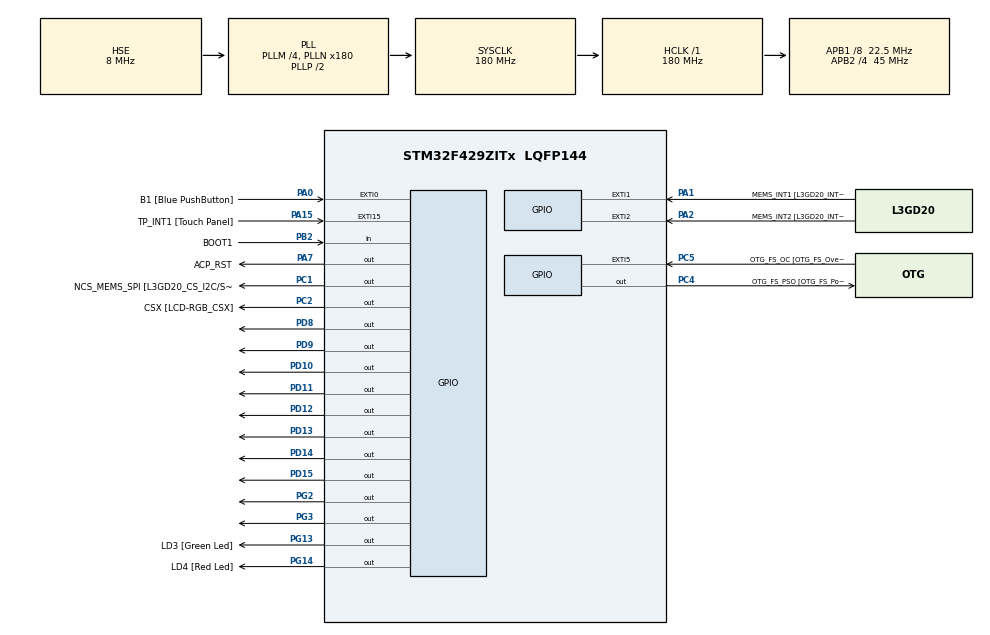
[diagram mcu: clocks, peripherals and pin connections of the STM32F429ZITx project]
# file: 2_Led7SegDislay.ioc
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Mcu.Family=STM32F4
Mcu.Name=STM32F429ZITx
Mcu.Package=LQFP144
NVIC.EXTI0_IRQn=true\:0\:0\:false\:false\:true\:true\:true\:true
NVIC.PriorityGroup=NVIC_PRIORITYGROUP_0
NVIC.TIM6_DAC_IRQn=true\:0\:0\:false\:false\:true\:true\:true\:true
PA0/WKUP.GPIO_Label=B1 [Blue PushButton]
PA0/WKUP.GPIO_ModeDefaultEXTI=GPIO_MODE_IT_RISING
PA0/WKUP.GPIO_PuPd=GPIO_NOPULL
PA0/WKUP.Signal=GPXTI0
PA1.GPIO_Label=MEMS_INT1 [L3GD20_INT1]
PA1.GPIO_ModeDefaultEXTI=GPIO_MODE_EVT_RISING
PA1.GPIO_PuPd=GPIO_NOPULL
PA1.Signal=GPXTI1
PA10.GPIO_Label=STLINK_TX [STM32F103CBT6_PA2]
PA10.Signal=USART1_RX
PA11.GPIO_Label=R4
PA11.GPIO_Mode=GPIO_MODE_AF_PP
PA11.GPIO_PuPd=GPIO_NOPULL
PA11.GPIO_Speed=GPIO_SPEED_FREQ_LOW
PA11.Signal=LTDC_R4
PA12.GPIO_Label=R5
PA12.GPIO_Mode=GPIO_MODE_AF_PP
PA12.GPIO_PuPd=GPIO_NOPULL
PA12.GPIO_Speed=GPIO_SPEED_FREQ_LOW
PA12.Signal=LTDC_R5
PA13.GPIO_Label=SWDIO
PA13.Signal=SYS_JTMS-SWDIO
PA14.GPIO_Label=SWCLK
PA14.Signal=SYS_JTCK-SWCLK
PA15.GPIO_Label=TP_INT1 [Touch Panel]
PA15.GPIO_ModeDefaultEXTI=GPIO_MODE_EVT_RISING
PA15.GPIO_PuPd=GPIO_NOPULL
PA15.Signal=GPXTI15
PA2.GPIO_Label=MEMS_INT2 [L3GD20_INT2]
PA2.GPIO_ModeDefaultEXTI=GPIO_MODE_EVT_RISING
PA2.GPIO_PuPd=GPIO_NOPULL
PA2.Signal=GPXTI2
PA3.GPIO_Label=B5
PA3.GPIO_Mode=GPIO_MODE_AF_PP
PA3.GPIO_PuPd=GPIO_NOPULL
PA3.GPIO_Speed=GPIO_SPEED_FREQ_LOW
PA3.Signal=LTDC_B5
PA4.GPIO_Label=VSYNC
PA4.GPIO_Mode=GPIO_MODE_AF_PP
PA4.GPIO_PuPd=GPIO_NOPULL
PA4.GPIO_Speed=GPIO_SPEED_FREQ_LOW
PA4.Signal=LTDC_VSYNC
PA6.GPIO_Label=G2
PA6.GPIO_Mode=GPIO_MODE_AF_PP
PA6.GPIO_PuPd=GPIO_NOPULL
PA6.GPIO_Speed=GPIO_SPEED_FREQ_LOW
PA6.Signal=LTDC_G2
PA7.GPIO_Label=ACP_RST
PA7.GPIO_Mode=GPIO_MODE_OUTPUT_PP
PA7.GPIO_PuPd=GPIO_NOPULL
PA7.GPIO_Speed=GPIO_SPEED_FREQ_LOW
PA7.Signal=GPIO_Output
PA8.GPIO_Label=I2C3_SCL [ACP/RF_SCL]
PA8.GPIO_Mode=GPIO_MODE_AF_OD
PA8.GPIO_PuPd=GPIO_NOPULL
PA8.GPIO_Speed=GPIO_SPEED_FREQ_LOW
PA8.Signal=I2C3_SCL
PA9.GPIO_Label=STLINK_RX [STM32F103CBT6_PA3]
PA9.Signal=USART1_TX
PB0.GPIO_Label=R3
PB0.GPIO_Mode=GPIO_MODE_AF_PP
PB0.GPIO_PuPd=GPIO_NOPULL
PB0.GPIO_Speed=GPIO_SPEED_FREQ_LOW
PB0.Signal=LTDC_R3
PB1.GPIO_Label=R6
PB1.GPIO_Mode=GPIO_MODE_AF_PP
PB1.GPIO_PuPd=GPIO_NOPULL
PB1.GPIO_Speed=GPIO_SPEED_FREQ_LOW
PB1.Signal=LTDC_R6
PB10.GPIO_Label=G4
PB10.GPIO_Mode=GPIO_MODE_AF_PP
PB10.GPIO_PuPd=GPIO_NOPULL
PB10.GPIO_Speed=GPIO_SPEED_FREQ_LOW
PB10.Signal=LTDC_G4
PB11.GPIO_Label=G5
PB11.GPIO_Mode=GPIO_MODE_AF_PP
PB11.GPIO_PuPd=GPIO_NOPULL
PB11.GPIO_Speed=GPIO_SPEED_FREQ_LOW
PB11.Signal=LTDC_G5
PB12.GPIO_Label=OTG_HS_ID
PB12.GPIO_Mode=GPIO_MODE_AF_PP
PB12.GPIO_PuPd=GPIO_NOPULL
PB12.GPIO_Speed=GPIO_SPEED_FREQ_LOW
PB12.Signal=USB_OTG_HS_ID
PB13.GPIO_Label=VBUS_HS
PB13.GPIO_Mode=GPIO_MODE_INPUT
PB13.GPIO_PuPd=GPIO_NOPULL
PB13.Signal=USB_OTG_HS_VBUS
PB14.GPIO_Label=OTG_HS_DM
PB14.GPIO_Mode=GPIO_MODE_AF_PP
PB14.GPIO_PuPd=GPIO_NOPULL
PB14.GPIO_Speed=GPIO_SPEED_FREQ_LOW
PB14.Signal=USB_OTG_HS_DM
PB15.GPIO_Label=OTG_HS_DP
PB15.GPIO_Mode=GPIO_MODE_AF_PP
PB15.GPIO_PuPd=GPIO_NOPULL
PB15.GPIO_Speed=GPIO_SPEED_FREQ_LOW
PB15.Signal=USB_OTG_HS_DP
PB2/BOOT1.GPIO_Label=BOOT1
PB2/BOOT1.GPIO_Mode=GPIO_MODE_INPUT
PB2/BOOT1.GPIO_PuPd=GPIO_NOPULL
PB2/BOOT1.Signal=GPIO_Input
PB5.GPIO_Label=SDCKE1
PB5.GPIO_Mode=GPIO_MODE_AF_PP
PB5.GPIO_PuPd=GPIO_NOPULL
PB5.GPIO_Speed=GPIO_SPEED_FREQ_VERY_HIGH
PB5.Signal=FMC_SDCKE1
PB6.GPIO_Label=SDNE1 [SDRAM_CS]
PB6.GPIO_Mode=GPIO_MODE_AF_PP
PB6.GPIO_PuPd=GPIO_NOPULL
PB6.GPIO_Speed=GPIO_SPEED_FREQ_VERY_HIGH
PB6.Signal=FMC_SDNE1
PB8.GPIO_Label=B6
PB8.GPIO_Mode=GPIO_MODE_AF_PP
PB8.GPIO_PuPd=GPIO_NOPULL
PB8.GPIO_Speed=GPIO_SPEED_FREQ_LOW
PB8.Signal=LTDC_B6
PB9.GPIO_Label=B7
PB9.GPIO_Mode=GPIO_MODE_AF_PP
PB9.GPIO_PuPd=GPIO_NOPULL
PB9.GPIO_Speed=GPIO_SPEED_FREQ_LOW
PB9.Signal=LTDC_B7
PC0.GPIO_Label=SDNWE
PC0.GPIO_Mode=GPIO_MODE_AF_PP
PC0.GPIO_PuPd=GPIO_NOPULL
PC0.GPIO_Speed=GPIO_SPEED_FREQ_VERY_HIGH
PC0.Signal=FMC_SDNWE
PC1.GPIO_Label=NCS_MEMS_SPI [L3GD20_CS_I2C/SPI]
PC1.GPIO_Mode=GPIO_MODE_OUTPUT_PP
PC1.GPIO_PuPd=GPIO_NOPULL
PC1.GPIO_Speed=GPIO_SPEED_FREQ_LOW
PC1.Signal=GPIO_Output
PC10.GPIO_Label=R2
PC10.GPIO_Mode=GPIO_MODE_AF_PP
PC10.GPIO_PuPd=GPIO_NOPULL
PC10.GPIO_Speed=GPIO_SPEED_FREQ_LOW
PC10.Signal=LTDC_R2
PC14/OSC32_IN.GPIO_Label=PC14-OSC32_IN
PC14/OSC32_IN.Signal=RCC_OSC32_IN
PC15/OSC32_OUT.GPIO_Label=PC15-OSC32_OUT
PC15/OSC32_OUT.Signal=RCC_OSC32_OUT
PC2.GPIO_Label=CSX [LCD-RGB_CSX]
PC2.GPIO_Mode=GPIO_MODE_OUTPUT_PP
PC2.GPIO_PuPd=GPIO_NOPULL
PC2.GPIO_Speed=GPIO_SPEED_FREQ_LOW
PC2.Signal=GPIO_Output
PC4.GPIO_Label=OTG_FS_PSO [OTG_FS_PowerSwitchOn]
PC4.GPIO_Mode=GPIO_MODE_OUTPUT_PP
PC4.GPIO_PuPd=GPIO_NOPULL
PC4.GPIO_Speed=GPIO_SPEED_FREQ_LOW
PC4.Signal=GPIO_Output
PC5.GPIO_Label=OTG_FS_OC [OTG_FS_OverCurrent]
PC5.GPIO_ModeDefaultEXTI=GPIO_MODE_EVT_RISING
PC5.Signal=GPXTI5
PC6.GPIO_Label=HSYNC
PC6.GPIO_Mode=GPIO_MODE_AF_PP
PC6.GPIO_PuPd=GPIO_NOPULL
PC6.GPIO_Speed=GPIO_SPEED_FREQ_LOW
PC6.Signal=LTDC_HSYNC
PC7.GPIO_Label=G6
PC7.GPIO_Mode=GPIO_MODE_AF_PP
PC7.GPIO_PuPd=GPIO_NOPULL
PC7.GPIO_Speed=GPIO_SPEED_FREQ_LOW
PC7.Signal=LTDC_G6
PC9.GPIO_Label=I2C3_SDA [ACP/RF_SDA]
PC9.GPIO_Mode=GPIO_MODE_AF_OD
PC9.GPIO_PuPd=GPIO_NOPULL
PC9.GPIO_Speed=GPIO_SPEED_FREQ_LOW
PC9.Signal=I2C3_SDA
PD0.GPIO_Label=D2
PD0.GPIO_Mode=GPIO_MODE_AF_PP
PD0.GPIO_PuPd=GPIO_NOPULL
PD0.GPIO_Speed=GPIO_SPEED_FREQ_VERY_HIGH
PD0.Signal=FMC_D2_DA2
PD1.GPIO_Label=D3
PD1.GPIO_Mode=GPIO_MODE_AF_PP
PD1.GPIO_PuPd=GPIO_NOPULL
PD1.GPIO_Speed=GPIO_SPEED_FREQ_VERY_HIGH
PD1.Signal=FMC_D3_DA3
PD10.Signal=GPIO_Output
PD11.Signal=GPIO_Output
PD12.Signal=GPIO_Output
PD13.Signal=GPIO_Output
PD14.Signal=GPIO_Output
PD15.Signal=GPIO_Output
PD3.GPIO_Label=G7
PD3.GPIO_Mode=GPIO_MODE_AF_PP
PD3.GPIO_PuPd=GPIO_NOPULL
PD3.GPIO_Speed=GPIO_SPEED_FREQ_LOW
PD3.Signal=LTDC_G7
PD6.GPIO_Label=B2
PD6.GPIO_Mode=GPIO_MODE_AF_PP
PD6.GPIO_PuPd=GPIO_NOPULL
PD6.GPIO_Speed=GPIO_SPEED_FREQ_LOW
PD6.Signal=LTDC_B2
PD8.Signal=GPIO_Output
PD9.Signal=GPIO_Output
PE0.GPIO_Label=NBL0 [SDRAM_LDQM]
PE0.GPIO_Mode=GPIO_MODE_AF_PP
PE0.GPIO_PuPd=GPIO_NOPULL
PE0.GPIO_Speed=GPIO_SPEED_FREQ_VERY_HIGH
PE0.Signal=FMC_NBL0
PE1.GPIO_Label=NBL1 [SDRAM_UDQM]
PE1.GPIO_Mode=GPIO_MODE_AF_PP
PE1.GPIO_PuPd=GPIO_NOPULL
PE1.GPIO_Speed=GPIO_SPEED_FREQ_VERY_HIGH
PE1.Signal=FMC_NBL1
PE11.GPIO_Label=D8
PE11.GPIO_Mode=GPIO_MODE_AF_PP
PE11.GPIO_PuPd=GPIO_NOPULL
PE11.GPIO_Speed=GPIO_SPEED_FREQ_VERY_HIGH
PE11.Signal=FMC_D8_DA8
PE12.GPIO_Label=D9
PE12.GPIO_Mode=GPIO_MODE_AF_PP
PE12.GPIO_PuPd=GPIO_NOPULL
PE12.GPIO_Speed=GPIO_SPEED_FREQ_VERY_HIGH
PE12.Signal=FMC_D9_DA9
PE13.GPIO_Label=D10
PE13.GPIO_Mode=GPIO_MODE_AF_PP
PE13.GPIO_PuPd=GPIO_NOPULL
PE13.GPIO_Speed=GPIO_SPEED_FREQ_VERY_HIGH
PE13.Signal=FMC_D10_DA10
PE14.GPIO_Label=D11
PE14.GPIO_Mode=GPIO_MODE_AF_PP
PE14.GPIO_PuPd=GPIO_NOPULL
PE14.GPIO_Speed=GPIO_SPEED_FREQ_VERY_HIGH
PE14.Signal=FMC_D11_DA11
PE15.GPIO_Label=D12
PE15.GPIO_Mode=GPIO_MODE_AF_PP
PE15.GPIO_PuPd=GPIO_NOPULL
PE15.GPIO_Speed=GPIO_SPEED_FREQ_VERY_HIGH
PE15.Signal=FMC_D12_DA12
PE7.GPIO_Label=D4
PE7.GPIO_Mode=GPIO_MODE_AF_PP
PE7.GPIO_PuPd=GPIO_NOPULL
PE7.GPIO_Speed=GPIO_SPEED_FREQ_VERY_HIGH
PE7.Signal=FMC_D4_DA4
PE8.GPIO_Label=D5
PE8.GPIO_Mode=GPIO_MODE_AF_PP
PE8.GPIO_PuPd=GPIO_NOPULL
PE8.GPIO_Speed=GPIO_SPEED_FREQ_VERY_HIGH
PE8.Signal=FMC_D5_DA5
PE9.GPIO_Label=D6
PE9.GPIO_Mode=GPIO_MODE_AF_PP
PE9.GPIO_PuPd=GPIO_NOPULL
PE9.GPIO_Speed=GPIO_SPEED_FREQ_VERY_HIGH
PE9.Signal=FMC_D6_DA6
PF0.GPIO_Label=A0
PF0.GPIO_Mode=GPIO_MODE_AF_PP
PF0.GPIO_PuPd=GPIO_NOPULL
PF0.GPIO_Speed=GPIO_SPEED_FREQ_VERY_HIGH
PF0.Signal=FMC_A0
PF1.GPIO_Label=A1
PF1.GPIO_Mode=GPIO_MODE_AF_PP
PF1.GPIO_PuPd=GPIO_NOPULL
PF1.GPIO_Speed=GPIO_SPEED_FREQ_VERY_HIGH
PF1.Signal=FMC_A1
PF10.GPIO_Label=ENABLE [LCD-RGB_ENABLE]
PF10.GPIO_Mode=GPIO_MODE_AF_PP
PF10.GPIO_PuPd=GPIO_NOPULL
PF10.GPIO_Speed=GPIO_SPEED_FREQ_LOW
PF10.Signal=LTDC_DE
PF11.GPIO_Label=SDNRAS
PF11.GPIO_Mode=GPIO_MODE_AF_PP
PF11.GPIO_PuPd=GPIO_NOPULL
PF11.GPIO_Speed=GPIO_SPEED_FREQ_VERY_HIGH
PF11.Signal=FMC_SDNRAS
PF12.GPIO_Label=A6
PF12.GPIO_Mode=GPIO_MODE_AF_PP
PF12.GPIO_PuPd=GPIO_NOPULL
PF12.GPIO_Speed=GPIO_SPEED_FREQ_VERY_HIGH
PF12.Signal=FMC_A6
PF13.GPIO_Label=A7
PF13.GPIO_Mode=GPIO_MODE_AF_PP
PF13.GPIO_PuPd=GPIO_NOPULL
PF13.GPIO_Speed=GPIO_SPEED_FREQ_VERY_HIGH
PF13.Signal=FMC_A7
PF14.GPIO_Label=A8
PF14.GPIO_Mode=GPIO_MODE_AF_PP
PF14.GPIO_PuPd=GPIO_NOPULL
PF14.GPIO_Speed=GPIO_SPEED_FREQ_VERY_HIGH
PF14.Signal=FMC_A8
PF15.GPIO_Label=A9
PF15.GPIO_Mode=GPIO_MODE_AF_PP
PF15.GPIO_PuPd=GPIO_NOPULL
PF15.GPIO_Speed=GPIO_SPEED_FREQ_VERY_HIGH
PF15.Signal=FMC_A9
PF2.GPIO_Label=A2
PF2.GPIO_Mode=GPIO_MODE_AF_PP
PF2.GPIO_PuPd=GPIO_NOPULL
PF2.GPIO_Speed=GPIO_SPEED_FREQ_VERY_HIGH
PF2.Signal=FMC_A2
PF3.GPIO_Label=A3
PF3.GPIO_Mode=GPIO_MODE_AF_PP
PF3.GPIO_PuPd=GPIO_NOPULL
PF3.GPIO_Speed=GPIO_SPEED_FREQ_VERY_HIGH
PF3.Signal=FMC_A3
PF4.GPIO_Label=A4
PF4.GPIO_Mode=GPIO_MODE_AF_PP
PF4.GPIO_PuPd=GPIO_NOPULL
PF4.GPIO_Speed=GPIO_SPEED_FREQ_VERY_HIGH
PF4.Signal=FMC_A4
PF5.GPIO_Label=A5
PF5.GPIO_Mode=GPIO_MODE_AF_PP
PF5.GPIO_PuPd=GPIO_NOPULL
PF5.GPIO_Speed=GPIO_SPEED_FREQ_VERY_HIGH
PF5.Signal=FMC_A5
PF7.GPIO_Label=SPI5_SCK [L3GD20_SCL/SPC]
PF7.GPIO_Mode=GPIO_MODE_AF_PP
PF7.GPIO_PuPd=GPIO_NOPULL
PF7.GPIO_Speed=GPIO_SPEED_FREQ_LOW
PF7.Signal=SPI5_SCK
PF8.GPIO_Label=SPI5_MISO [L3GD20_SDO]
PF8.GPIO_Mode=GPIO_MODE_AF_PP
PF8.GPIO_PuPd=GPIO_NOPULL
PF8.GPIO_Speed=GPIO_SPEED_FREQ_LOW
PF8.Signal=SPI5_MISO
PF9.GPIO_Label=SPI5_MOSI [L3GD20_SDA/SDI/SDO]
PF9.GPIO_Mode=GPIO_MODE_AF_PP
PF9.GPIO_PuPd=GPIO_NOPULL
PF9.GPIO_Speed=GPIO_SPEED_FREQ_LOW
PF9.Signal=SPI5_MOSI
PG0.GPIO_Label=A10
PG0.GPIO_Mode=GPIO_MODE_AF_PP
PG0.GPIO_PuPd=GPIO_NOPULL
PG0.GPIO_Speed=GPIO_SPEED_FREQ_VERY_HIGH
PG0.Signal=FMC_A10
PG1.GPIO_Label=A11
PG1.GPIO_Mode=GPIO_MODE_AF_PP
PG1.GPIO_PuPd=GPIO_NOPULL
PG1.GPIO_Speed=GPIO_SPEED_FREQ_VERY_HIGH
PG1.Signal=FMC_A11
PG10.GPIO_Label=G3
PG10.GPIO_Mode=GPIO_MODE_AF_PP
PG10.GPIO_PuPd=GPIO_NOPULL
PG10.GPIO_Speed=GPIO_SPEED_FREQ_LOW
PG10.Signal=LTDC_G3
PG11.GPIO_Label=B3
PG11.GPIO_Mode=GPIO_MODE_AF_PP
PG11.GPIO_PuPd=GPIO_NOPULL
PG11.GPIO_Speed=GPIO_SPEED_FREQ_LOW
PG11.Signal=LTDC_B3
PG12.GPIO_Label=B4
PG12.GPIO_Mode=GPIO_MODE_AF_PP
PG12.GPIO_PuPd=GPIO_NOPULL
PG12.GPIO_Speed=GPIO_SPEED_FREQ_LOW
PG12.Signal=LTDC_B4
PG13.GPIO_Label=LD3 [Green Led]
PG13.GPIO_Mode=GPIO_MODE_OUTPUT_PP
PG13.GPIO_PuPd=GPIO_NOPULL
PG13.GPIO_Speed=GPIO_SPEED_FREQ_LOW
PG13.Signal=GPIO_Output
PG14.GPIO_Label=LD4 [Red Led]
PG14.GPIO_Mode=GPIO_MODE_OUTPUT_PP
PG14.GPIO_PuPd=GPIO_NOPULL
PG14.GPIO_Speed=GPIO_SPEED_FREQ_LOW
PG14.Signal=GPIO_Output
PG15.GPIO_Label=SDNCAS
PG15.GPIO_Mode=GPIO_MODE_AF_PP
PG15.GPIO_PuPd=GPIO_NOPULL
PG15.GPIO_Speed=GPIO_SPEED_FREQ_VERY_HIGH
PG15.Signal=FMC_SDNCAS
PG2.Signal=GPIO_Output
PG3.Signal=GPIO_Output
PG4.GPIO_Label=BA0
PG4.GPIO_Mode=GPIO_MODE_AF_PP
PG4.GPIO_PuPd=GPIO_NOPULL
PG4.GPIO_Speed=GPIO_SPEED_FREQ_VERY_HIGH
PG4.Signal=FMC_A14_BA0
PG5.GPIO_Label=BA1
PG5.GPIO_Mode=GPIO_MODE_AF_PP
PG5.GPIO_PuPd=GPIO_NOPULL
PG5.GPIO_Speed=GPIO_SPEED_FREQ_VERY_HIGH
PG5.Signal=FMC_A15_BA1
PG6.GPIO_Label=R7
PG6.GPIO_Mode=GPIO_MODE_AF_PP
PG6.GPIO_PuPd=GPIO_NOPULL
PG6.GPIO_Speed=GPIO_SPEED_FREQ_LOW
PG6.Signal=LTDC_R7
PG7.GPIO_Label=DOTCLK [LCT-RGB_DOTCLK]
PG7.GPIO_Mode=GPIO_MODE_AF_PP
PG7.GPIO_PuPd=GPIO_NOPULL
PG7.GPIO_Speed=GPIO_SPEED_FREQ_LOW
PG7.Signal=LTDC_CLK
PG8.GPIO_Label=SDCLK
PG8.GPIO_Mode=GPIO_MODE_AF_PP
PG8.GPIO_PuPd=GPIO_NOPULL
PG8.GPIO_Speed=GPIO_SPEED_FREQ_VERY_HIGH
PG8.Signal=FMC_SDCLK
PH0/OSC_IN.GPIO_Label=PH0-OSC_IN
PH0/OSC_IN.Mode=HSE-External-Oscillator
PH0/OSC_IN.Signal=RCC_OSC_IN
PH1/OSC_OUT.GPIO_Label=PH1-OSC_OUT
PH1/OSC_OUT.Mode=HSE-External-Oscillator
PH1/OSC_OUT.Signal=RCC_OSC_OUT
ProjectManager.HeapSize=0x200
ProjectManager.StackSize=0x400
ProjectManager.TargetToolchain=STM32CubeIDE
RCC.48MHZClocksFreq_Value=51428571.428571425
RCC.AHBFreq_Value=180000000
RCC.APB1CLKDivider=RCC_HCLK_DIV8
RCC.APB1Freq_Value=22500000
RCC.APB1TimFreq_Value=45000000
RCC.APB2CLKDivider=RCC_HCLK_DIV4
RCC.APB2Freq_Value=45000000
RCC.APB2TimFreq_Value=90000000
RCC.CortexFreq_Value=180000000
RCC.HCLKFreq_Value=180000000
RCC.HSE_VALUE=8000000
RCC.HSI_VALUE=16000000
RCC.LSE_VALUE=32768
RCC.PLLM=4
RCC.PLLN=180
RCC.PLLQ=7
RCC.PLLSourceVirtual=RCC_PLLSOURCE_HSE
RCC.SYSCLKFreq_VALUE=180000000
RCC.SYSCLKSource=RCC_SYSCLKSOURCE_PLLCLK
RCC.VCOOutputFreq_Value=360000000
SH.FMC_A0.0=FMC_A0
SH.FMC_A1.0=FMC_A1
SH.FMC_A10.0=FMC_A10
SH.FMC_A11.0=FMC_A11
SH.FMC_A14_BA0.0=FMC_BA0
SH.FMC_A15_BA1.0=FMC_BA1
SH.FMC_A2.0=FMC_A2
SH.FMC_A3.0=FMC_A3
SH.FMC_A4.0=FMC_A4
SH.FMC_A5.0=FMC_A5
SH.FMC_A6.0=FMC_A6
SH.FMC_A7.0=FMC_A7
SH.FMC_A8.0=FMC_A8
SH.FMC_A9.0=FMC_A9
SH.FMC_D10_DA10.0=FMC_D10
SH.FMC_D11_DA11.0=FMC_D11
SH.FMC_D12_DA12.0=FMC_D12
SH.FMC_D2_DA2.0=FMC_D2
SH.FMC_D3_DA3.0=FMC_D3
SH.FMC_D4_DA4.0=FMC_D4
SH.FMC_D5_DA5.0=FMC_D5
SH.FMC_D6_DA6.0=FMC_D6
SH.FMC_D8_DA8.0=FMC_D8
SH.FMC_D9_DA9.0=FMC_D9
SH.FMC_NBL0.0=FMC_NBL0
SH.FMC_NBL1.0=FMC_NBL1
SH.FMC_SDCLK.0=FMC_SDCLK
SH.FMC_SDNCAS.0=FMC_SDNCAS
SH.FMC_SDNRAS.0=FMC_SDNRAS
SH.FMC_SDNWE.0=FMC_SDNWE
TIM6.Period=99
TIM6.Prescaler=80
VP_TIM6_VS_ClockSourceINT.Mode=Enable_Timer
board=STM32F429I-DISC1

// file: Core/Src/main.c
/* USER CODE BEGIN Header */
/**
 ******************************************************************************
 * @file           : main.c
 * @brief          : Main program body
 ******************************************************************************
 * @attention
 *
 * Copyright (c) 2025 STMicroelectronics.
 * All rights reserved.
 *
 * This software is licensed under terms that can be found in the LICENSE file
 * in the root directory of this software component.
 * If no LICENSE file comes with this software, it is provided AS-IS.
 *
 ******************************************************************************
 */
/* USER CODE END Header */
#include "main.h"
#include "7seg.h"
#include <stdint.h>

TIM_HandleTypeDef htim6;
//Biến lưu giá trị led và cờ ngắt
volatile uint8_t numDisplay;
volatile uint8_t numFlag;
volatile uint8_t LED_Value;
//Mảng lưu các giá trị của mode 4
const unsigned char frames[] = { 0x00, 0x81, 0x42, 0x24, 0x18, 0x18, 0x24, 0x42,
		0x81, 0x00 };
uint8_t countMode = 1;
//Mode 1 là mode ban đầu của chương trình
volatile uint8_t modeLed = 0;
volatile uint8_t chance;
static uint8_t value1 = 1;
static uint8_t value2 = 1;
static uint8_t value3 = 0xFF;
static uint8_t value4 = 0;

void SystemClock_Config(void);
static void MX_GPIO_Init(void);
static void MX_TIM6_Init(void);

/* USER CODE BEGIN 0 */
uint8_t setLEDsMode1() {

	value1 = (value1 << 1) | (value1 >> 7);
	return value1;
}
uint8_t setLEDsMode2() {

	value2 = (value2 >> 1) | (value2 << 7);
	return value2;
}
uint8_t setLEDsMode3() {
	//static int value3 = 0xFF;
	value3 = ~value3;
	return value3;
}
uint8_t setLEDsMode4() {
	value4 = value4 % 10;
	return frames[value4++];
}
//con tro ham goi mode
uint8_t (*setLEDsMode[])() = {setLEDsMode1, setLEDsMode2, setLEDsMode3, setLEDsMode4};
void DisplayLEDs(uint8_t mode) {
	LED_Value = setLEDsMode[mode]();
	if (LED_Value & 0x80)
		HAL_GPIO_WritePin(GPIOD, GPIO_PIN_15, GPIO_PIN_SET);
	else
		HAL_GPIO_WritePin(GPIOD, GPIO_PIN_15, GPIO_PIN_RESET);
	if (LED_Value & 0x40)
		HAL_GPIO_WritePin(GPIOD, GPIO_PIN_14, GPIO_PIN_SET);
	else
		HAL_GPIO_WritePin(GPIOD, GPIO_PIN_14, GPIO_PIN_RESET);
	if (LED_Value & 0x20)
		HAL_GPIO_WritePin(GPIOD, GPIO_PIN_13, GPIO_PIN_SET);
	else
		HAL_GPIO_WritePin(GPIOD, GPIO_PIN_13, GPIO_PIN_RESET);
	if (LED_Value & 0x10)
		HAL_GPIO_WritePin(GPIOD, GPIO_PIN_12, GPIO_PIN_SET);
	else
		HAL_GPIO_WritePin(GPIOD, GPIO_PIN_12, GPIO_PIN_RESET);
	if (LED_Value & 0x8)
		HAL_GPIO_WritePin(GPIOD, GPIO_PIN_11, GPIO_PIN_SET);
	else
		HAL_GPIO_WritePin(GPIOD, GPIO_PIN_11, GPIO_PIN_RESET);
	if (LED_Value & 0x4)
		HAL_GPIO_WritePin(GPIOD, GPIO_PIN_10, GPIO_PIN_SET);
	else
		HAL_GPIO_WritePin(GPIOD, GPIO_PIN_10, GPIO_PIN_RESET);
	if (LED_Value & 0x2)
		HAL_GPIO_WritePin(GPIOD, GPIO_PIN_9, GPIO_PIN_SET);
	else
		HAL_GPIO_WritePin(GPIOD, GPIO_PIN_9, GPIO_PIN_RESET);
	if (LED_Value & 0x1)
		HAL_GPIO_WritePin(GPIOD, GPIO_PIN_8, GPIO_PIN_SET);
	else
		HAL_GPIO_WritePin(GPIOD, GPIO_PIN_8, GPIO_PIN_RESET);
}
/* USER CODE END 0 */

int main(void) {

	/* MCU Configuration--------------------------------------------------------*/

	/* Reset of all peripherals, Initializes the Flash interface and the Systick. */
	HAL_Init();

	/* Configure the system clock */
	SystemClock_Config();

	/* Initialize all configured peripherals */
	MX_GPIO_Init();
	MX_TIM6_Init();
	/* USER CODE BEGIN 2 */
	HAL_TIM_Base_Start_IT(&htim6);
	Set7SegDisplayValue(0);
	numFlag = 0;
	/* USER CODE END 2 */

	/* Infinite loop */
	while (1) {
		//Xử lý tăng 1 đơn vị khi ấn nút <=> sự kiện ngắt xảy ra
		if (numFlag) {
			Set7SegDisplayValue((++numDisplay) % 100);
			numFlag = 0;
		}
		HAL_Delay(5);
		Run7SegDisplay();
		//hieu ung bai 1
		/*
		//Cập nhật mode khi có sự kiện ngắt
				if(chance)
				{
					modeLed = countMode;
					chance = 0;
				}
				HAL_Delay(500);
				DisplayLEDs(modeLed);
		*/
	}

	/**
	 * @brief System Clock Configuration
	 * @retval None
	 */
}
void SystemClock_Config(void) {
	RCC_OscInitTypeDef RCC_OscInitStruct = { 0 };
	RCC_ClkInitTypeDef RCC_ClkInitStruct = { 0 };

	/** Configure the main internal regulator output voltage
	 */
	__HAL_RCC_PWR_CLK_ENABLE();
	__HAL_PWR_VOLTAGESCALING_CONFIG(PWR_REGULATOR_VOLTAGE_SCALE1);

	/** Initializes the RCC Oscillators according to the specified parameters
	 * in the RCC_OscInitTypeDef structure.
	 */
	RCC_OscInitStruct.OscillatorType = RCC_OSCILLATORTYPE_HSE;
	RCC_OscInitStruct.HSEState = RCC_HSE_ON;
	RCC_OscInitStruct.PLL.PLLState = RCC_PLL_ON;
	RCC_OscInitStruct.PLL.PLLSource = RCC_PLLSOURCE_HSE;
	RCC_OscInitStruct.PLL.PLLM = 4;
	RCC_OscInitStruct.PLL.PLLN = 180;
	RCC_OscInitStruct.PLL.PLLP = RCC_PLLP_DIV2;
	RCC_OscInitStruct.PLL.PLLQ = 7;
	if (HAL_RCC_OscConfig(&RCC_OscInitStruct) != HAL_OK) {
		Error_Handler();
	}

	/** Activate the Over-Drive mode
	 */
	if (HAL_PWREx_EnableOverDrive() != HAL_OK) {
		Error_Handler();
	}

	/** Initializes the CPU, AHB and APB buses clocks
	 */
	RCC_ClkInitStruct.ClockType = RCC_CLOCKTYPE_HCLK | RCC_CLOCKTYPE_SYSCLK
			| RCC_CLOCKTYPE_PCLK1 | RCC_CLOCKTYPE_PCLK2;
	RCC_ClkInitStruct.SYSCLKSource = RCC_SYSCLKSOURCE_PLLCLK;
	RCC_ClkInitStruct.AHBCLKDivider = RCC_SYSCLK_DIV1;
	RCC_ClkInitStruct.APB1CLKDivider = RCC_HCLK_DIV8;
	RCC_ClkInitStruct.APB2CLKDivider = RCC_HCLK_DIV4;

	if (HAL_RCC_ClockConfig(&RCC_ClkInitStruct, FLASH_LATENCY_5) != HAL_OK) {
		Error_Handler();
	}
}

static void MX_TIM6_Init(void) {

TIM_MasterConfigTypeDef sMasterConfig = { 0 };

htim6.Instance = TIM6;
htim6.Init.Prescaler = 80;
htim6.Init.CounterMode = TIM_COUNTERMODE_UP;
htim6.Init.Period = 99;
htim6.Init.AutoReloadPreload = TIM_AUTORELOAD_PRELOAD_DISABLE;
if (HAL_TIM_Base_Init(&htim6) != HAL_OK) {
	Error_Handler();
}
sMasterConfig.MasterOutputTrigger = TIM_TRGO_RESET;
sMasterConfig.MasterSlaveMode = TIM_MASTERSLAVEMODE_DISABLE;
if (HAL_TIMEx_MasterConfigSynchronization(&htim6, &sMasterConfig) != HAL_OK) {
	Error_Handler();
}

}

static void MX_GPIO_Init(void) {
GPIO_InitTypeDef GPIO_InitStruct = { 0 };

/* GPIO Ports Clock Enable */
__HAL_RCC_GPIOC_CLK_ENABLE();
__HAL_RCC_GPIOF_CLK_ENABLE();
__HAL_RCC_GPIOH_CLK_ENABLE();
__HAL_RCC_GPIOA_CLK_ENABLE();
__HAL_RCC_GPIOB_CLK_ENABLE();
__HAL_RCC_GPIOG_CLK_ENABLE();
__HAL_RCC_GPIOE_CLK_ENABLE();
__HAL_RCC_GPIOD_CLK_ENABLE();

/*Configure GPIO pin Output Level */
HAL_GPIO_WritePin(GPIOC, NCS_MEMS_SPI_Pin | CSX_Pin | OTG_FS_PSO_Pin,
		GPIO_PIN_RESET);

/*Configure GPIO pin Output Level */
HAL_GPIO_WritePin(ACP_RST_GPIO_Port, ACP_RST_Pin, GPIO_PIN_RESET);

/*Configure GPIO pin Output Level */
HAL_GPIO_WritePin(GPIOD,
		GPIO_PIN_8 | GPIO_PIN_9 | GPIO_PIN_10 | GPIO_PIN_11 | GPIO_PIN_12
				| GPIO_PIN_13 | GPIO_PIN_14 | GPIO_PIN_15, GPIO_PIN_RESET);

/*Configure GPIO pin Output Level */
HAL_GPIO_WritePin(GPIOG, GPIO_PIN_2 | GPIO_PIN_3 | LD3_Pin | LD4_Pin,
		GPIO_PIN_RESET);

/*Configure GPIO pins : A0_Pin A1_Pin A2_Pin A3_Pin
 A4_Pin A5_Pin SDNRAS_Pin A6_Pin
 A7_Pin A8_Pin A9_Pin */
GPIO_InitStruct.Pin = A0_Pin | A1_Pin | A2_Pin | A3_Pin | A4_Pin | A5_Pin
		| SDNRAS_Pin | A6_Pin | A7_Pin | A8_Pin | A9_Pin;
GPIO_InitStruct.Mode = GPIO_MODE_AF_PP;
GPIO_InitStruct.Pull = GPIO_NOPULL;
GPIO_InitStruct.Speed = GPIO_SPEED_FREQ_VERY_HIGH;
GPIO_InitStruct.Alternate = GPIO_AF12_FMC;
HAL_GPIO_Init(GPIOF, &GPIO_InitStruct);

/*Configure GPIO pins : SPI5_SCK_Pin SPI5_MISO_Pin SPI5_MOSI_Pin */
GPIO_InitStruct.Pin = SPI5_SCK_Pin | SPI5_MISO_Pin | SPI5_MOSI_Pin;
GPIO_InitStruct.Mode = GPIO_MODE_AF_PP;
GPIO_InitStruct.Pull = GPIO_NOPULL;
GPIO_InitStruct.Speed = GPIO_SPEED_FREQ_LOW;
GPIO_InitStruct.Alternate = GPIO_AF5_SPI5;
HAL_GPIO_Init(GPIOF, &GPIO_InitStruct);

/*Configure GPIO pin : ENABLE_Pin */
GPIO_InitStruct.Pin = ENABLE_Pin;
GPIO_InitStruct.Mode = GPIO_MODE_AF_PP;
GPIO_InitStruct.Pull = GPIO_NOPULL;
GPIO_InitStruct.Speed = GPIO_SPEED_FREQ_LOW;
GPIO_InitStruct.Alternate = GPIO_AF14_LTDC;
HAL_GPIO_Init(ENABLE_GPIO_Port, &GPIO_InitStruct);

/*Configure GPIO pin : SDNWE_Pin */
GPIO_InitStruct.Pin = SDNWE_Pin;
GPIO_InitStruct.Mode = GPIO_MODE_AF_PP;
GPIO_InitStruct.Pull = GPIO_NOPULL;
GPIO_InitStruct.Speed = GPIO_SPEED_FREQ_VERY_HIGH;
GPIO_InitStruct.Alternate = GPIO_AF12_FMC;
HAL_GPIO_Init(SDNWE_GPIO_Port, &GPIO_InitStruct);

/*Configure GPIO pins : NCS_MEMS_SPI_Pin CSX_Pin OTG_FS_PSO_Pin */
GPIO_InitStruct.Pin = NCS_MEMS_SPI_Pin | CSX_Pin | OTG_FS_PSO_Pin;
GPIO_InitStruct.Mode = GPIO_MODE_OUTPUT_PP;
GPIO_InitStruct.Pull = GPIO_NOPULL;
GPIO_InitStruct.Speed = GPIO_SPEED_FREQ_LOW;
HAL_GPIO_Init(GPIOC, &GPIO_InitStruct);

/*Configure GPIO pin : B1_Pin */
GPIO_InitStruct.Pin = B1_Pin;
GPIO_InitStruct.Mode = GPIO_MODE_IT_RISING;
GPIO_InitStruct.Pull = GPIO_NOPULL;
HAL_GPIO_Init(B1_GPIO_Port, &GPIO_InitStruct);

/*Configure GPIO pins : MEMS_INT1_Pin MEMS_INT2_Pin TP_INT1_Pin */
GPIO_InitStruct.Pin = MEMS_INT1_Pin | MEMS_INT2_Pin | TP_INT1_Pin;
GPIO_InitStruct.Mode = GPIO_MODE_EVT_RISING;
GPIO_InitStruct.Pull = GPIO_NOPULL;
HAL_GPIO_Init(GPIOA, &GPIO_InitStruct);

/*Configure GPIO pins : B5_Pin VSYNC_Pin G2_Pin R4_Pin
 R5_Pin */
GPIO_InitStruct.Pin = B5_Pin | VSYNC_Pin | G2_Pin | R4_Pin | R5_Pin;
GPIO_InitStruct.Mode = GPIO_MODE_AF_PP;
GPIO_InitStruct.Pull = GPIO_NOPULL;
GPIO_InitStruct.Speed = GPIO_SPEED_FREQ_LOW;
GPIO_InitStruct.Alternate = GPIO_AF14_LTDC;
HAL_GPIO_Init(GPIOA, &GPIO_InitStruct);

/*Configure GPIO pin : ACP_RST_Pin */
GPIO_InitStruct.Pin = ACP_RST_Pin;
GPIO_InitStruct.Mode = GPIO_MODE_OUTPUT_PP;
GPIO_InitStruct.Pull = GPIO_NOPULL;
GPIO_InitStruct.Speed = GPIO_SPEED_FREQ_LOW;
HAL_GPIO_Init(ACP_RST_GPIO_Port, &GPIO_InitStruct);

/*Configure GPIO pin : OTG_FS_OC_Pin */
GPIO_InitStruct.Pin = OTG_FS_OC_Pin;
GPIO_InitStruct.Mode = GPIO_MODE_EVT_RISING;
GPIO_InitStruct.Pull = GPIO_NOPULL;
HAL_GPIO_Init(OTG_FS_OC_GPIO_Port, &GPIO_InitStruct);

/*Configure GPIO pins : R3_Pin R6_Pin */
GPIO_InitStruct.Pin = R3_Pin | R6_Pin;
GPIO_InitStruct.Mode = GPIO_MODE_AF_PP;
GPIO_InitStruct.Pull = GPIO_NOPULL;
GPIO_InitStruct.Speed = GPIO_SPEED_FREQ_LOW;
GPIO_InitStruct.Alternate = GPIO_AF9_LTDC;
HAL_GPIO_Init(GPIOB, &GPIO_InitStruct);

/*Configure GPIO pin : BOOT1_Pin */
GPIO_InitStruct.Pin = BOOT1_Pin;
GPIO_InitStruct.Mode = GPIO_MODE_INPUT;
GPIO_InitStruct.Pull = GPIO_NOPULL;
HAL_GPIO_Init(BOOT1_GPIO_Port, &GPIO_InitStruct);

/*Configure GPIO pins : A10_Pin A11_Pin BA0_Pin BA1_Pin
 SDCLK_Pin SDNCAS_Pin */
GPIO_InitStruct.Pin = A10_Pin | A11_Pin | BA0_Pin | BA1_Pin | SDCLK_Pin
		| SDNCAS_Pin;
GPIO_InitStruct.Mode = GPIO_MODE_AF_PP;
GPIO_InitStruct.Pull = GPIO_NOPULL;
GPIO_InitStruct.Speed = GPIO_SPEED_FREQ_VERY_HIGH;
GPIO_InitStruct.Alternate = GPIO_AF12_FMC;
HAL_GPIO_Init(GPIOG, &GPIO_InitStruct);

/*Configure GPIO pins : D4_Pin D5_Pin D6_Pin D8_Pin
 D9_Pin D10_Pin D11_Pin D12_Pin
 NBL0_Pin NBL1_Pin */
GPIO_InitStruct.Pin = D4_Pin | D5_Pin | D6_Pin | D8_Pin | D9_Pin | D10_Pin
		| D11_Pin | D12_Pin | NBL0_Pin | NBL1_Pin;
GPIO_InitStruct.Mode = GPIO_MODE_AF_PP;
GPIO_InitStruct.Pull = GPIO_NOPULL;
GPIO_InitStruct.Speed = GPIO_SPEED_FREQ_VERY_HIGH;
GPIO_InitStruct.Alternate = GPIO_AF12_FMC;
HAL_GPIO_Init(GPIOE, &GPIO_InitStruct);

/*Configure GPIO pins : G4_Pin G5_Pin B6_Pin B7_Pin */
GPIO_InitStruct.Pin = G4_Pin | G5_Pin | B6_Pin | B7_Pin;
GPIO_InitStruct.Mode = GPIO_MODE_AF_PP;
GPIO_InitStruct.Pull = GPIO_NOPULL;
GPIO_InitStruct.Speed = GPIO_SPEED_FREQ_LOW;
GPIO_InitStruct.Alternate = GPIO_AF14_LTDC;
HAL_GPIO_Init(GPIOB, &GPIO_InitStruct);

/*Configure GPIO pins : OTG_HS_ID_Pin OTG_HS_DM_Pin OTG_HS_DP_Pin */
GPIO_InitStruct.Pin = OTG_HS_ID_Pin | OTG_HS_DM_Pin | OTG_HS_DP_Pin;
GPIO_InitStruct.Mode = GPIO_MODE_AF_PP;
GPIO_InitStruct.Pull = GPIO_NOPULL;
GPIO_InitStruct.Speed = GPIO_SPEED_FREQ_LOW;
GPIO_InitStruct.Alternate = GPIO_AF12_OTG_HS_FS;
HAL_GPIO_Init(GPIOB, &GPIO_InitStruct);

/*Configure GPIO pin : VBUS_HS_Pin */
GPIO_InitStruct.Pin = VBUS_HS_Pin;
GPIO_InitStruct.Mode = GPIO_MODE_INPUT;
GPIO_InitStruct.Pull = GPIO_NOPULL;
HAL_GPIO_Init(VBUS_HS_GPIO_Port, &GPIO_InitStruct);

/*Configure GPIO pins : PD8 PD9 PD10 PD11
 PD12 PD13 PD14 PD15 */
GPIO_InitStruct.Pin = GPIO_PIN_8 | GPIO_PIN_9 | GPIO_PIN_10 | GPIO_PIN_11
		| GPIO_PIN_12 | GPIO_PIN_13 | GPIO_PIN_14 | GPIO_PIN_15;
GPIO_InitStruct.Mode = GPIO_MODE_OUTPUT_PP;
GPIO_InitStruct.Pull = GPIO_NOPULL;
GPIO_InitStruct.Speed = GPIO_SPEED_FREQ_LOW;
HAL_GPIO_Init(GPIOD, &GPIO_InitStruct);

/*Configure GPIO pins : PG2 PG3 LD3_Pin LD4_Pin */
GPIO_InitStruct.Pin = GPIO_PIN_2 | GPIO_PIN_3 | LD3_Pin | LD4_Pin;
GPIO_InitStruct.Mode = GPIO_MODE_OUTPUT_PP;
GPIO_InitStruct.Pull = GPIO_NOPULL;
GPIO_InitStruct.Speed = GPIO_SPEED_FREQ_LOW;
HAL_GPIO_Init(GPIOG, &GPIO_InitStruct);

/*Configure GPIO pins : R7_Pin DOTCLK_Pin B3_Pin */
GPIO_InitStruct.Pin = R7_Pin | DOTCLK_Pin | B3_Pin;
GPIO_InitStruct.Mode = GPIO_MODE_AF_PP;
GPIO_InitStruct.Pull = GPIO_NOPULL;
GPIO_InitStruct.Speed = GPIO_SPEED_FREQ_LOW;
GPIO_InitStruct.Alternate = GPIO_AF14_LTDC;
HAL_GPIO_Init(GPIOG, &GPIO_InitStruct);

/*Configure GPIO pins : HSYNC_Pin G6_Pin R2_Pin */
GPIO_InitStruct.Pin = HSYNC_Pin | G6_Pin | R2_Pin;
GPIO_InitStruct.Mode = GPIO_MODE_AF_PP;
GPIO_InitStruct.Pull = GPIO_NOPULL;
GPIO_InitStruct.Speed = GPIO_SPEED_FREQ_LOW;
GPIO_InitStruct.Alternate = GPIO_AF14_LTDC;
HAL_GPIO_Init(GPIOC, &GPIO_InitStruct);

/*Configure GPIO pin : I2C3_SDA_Pin */
GPIO_InitStruct.Pin = I2C3_SDA_Pin;
GPIO_InitStruct.Mode = GPIO_MODE_AF_OD;
GPIO_InitStruct.Pull = GPIO_NOPULL;
GPIO_InitStruct.Speed = GPIO_SPEED_FREQ_LOW;
GPIO_InitStruct.Alternate = GPIO_AF4_I2C3;
HAL_GPIO_Init(I2C3_SDA_GPIO_Port, &GPIO_InitStruct);

/*Configure GPIO pin : I2C3_SCL_Pin */
GPIO_InitStruct.Pin = I2C3_SCL_Pin;
GPIO_InitStruct.Mode = GPIO_MODE_AF_OD;
GPIO_InitStruct.Pull = GPIO_NOPULL;
GPIO_InitStruct.Speed = GPIO_SPEED_FREQ_LOW;
GPIO_InitStruct.Alternate = GPIO_AF4_I2C3;
HAL_GPIO_Init(I2C3_SCL_GPIO_Port, &GPIO_InitStruct);

/*Configure GPIO pins : STLINK_RX_Pin STLINK_TX_Pin */
GPIO_InitStruct.Pin = STLINK_RX_Pin | STLINK_TX_Pin;
GPIO_InitStruct.Mode = GPIO_MODE_AF_PP;
GPIO_InitStruct.Pull = GPIO_NOPULL;
GPIO_InitStruct.Speed = GPIO_SPEED_FREQ_VERY_HIGH;
GPIO_InitStruct.Alternate = GPIO_AF7_USART1;
HAL_GPIO_Init(GPIOA, &GPIO_InitStruct);

/*Configure GPIO pins : D2_Pin D3_Pin */
GPIO_InitStruct.Pin = D2_Pin | D3_Pin;
GPIO_InitStruct.Mode = GPIO_MODE_AF_PP;
GPIO_InitStruct.Pull = GPIO_NOPULL;
GPIO_InitStruct.Speed = GPIO_SPEED_FREQ_VERY_HIGH;
GPIO_InitStruct.Alternate = GPIO_AF12_FMC;
HAL_GPIO_Init(GPIOD, &GPIO_InitStruct);

/*Configure GPIO pins : G7_Pin B2_Pin */
GPIO_InitStruct.Pin = G7_Pin | B2_Pin;
GPIO_InitStruct.Mode = GPIO_MODE_AF_PP;
GPIO_InitStruct.Pull = GPIO_NOPULL;
GPIO_InitStruct.Speed = GPIO_SPEED_FREQ_LOW;
GPIO_InitStruct.Alternate = GPIO_AF14_LTDC;
HAL_GPIO_Init(GPIOD, &GPIO_InitStruct);

/*Configure GPIO pins : G3_Pin B4_Pin */
GPIO_InitStruct.Pin = G3_Pin | B4_Pin;
GPIO_InitStruct.Mode = GPIO_MODE_AF_PP;
GPIO_InitStruct.Pull = GPIO_NOPULL;
GPIO_InitStruct.Speed = GPIO_SPEED_FREQ_LOW;
GPIO_InitStruct.Alternate = GPIO_AF9_LTDC;
HAL_GPIO_Init(GPIOG, &GPIO_InitStruct);

/*Configure GPIO pins : SDCKE1_Pin SDNE1_Pin */
GPIO_InitStruct.Pin = SDCKE1_Pin | SDNE1_Pin;
GPIO_InitStruct.Mode = GPIO_MODE_AF_PP;
GPIO_InitStruct.Pull = GPIO_NOPULL;
GPIO_InitStruct.Speed = GPIO_SPEED_FREQ_VERY_HIGH;
GPIO_InitStruct.Alternate = GPIO_AF12_FMC;
HAL_GPIO_Init(GPIOB, &GPIO_InitStruct);

/* EXTI interrupt init*/
HAL_NVIC_SetPriority(EXTI0_IRQn, 0, 0);
HAL_NVIC_EnableIRQ(EXTI0_IRQn);

}

void Error_Handler(void) {
__disable_irq();
while (1) {
}
}
